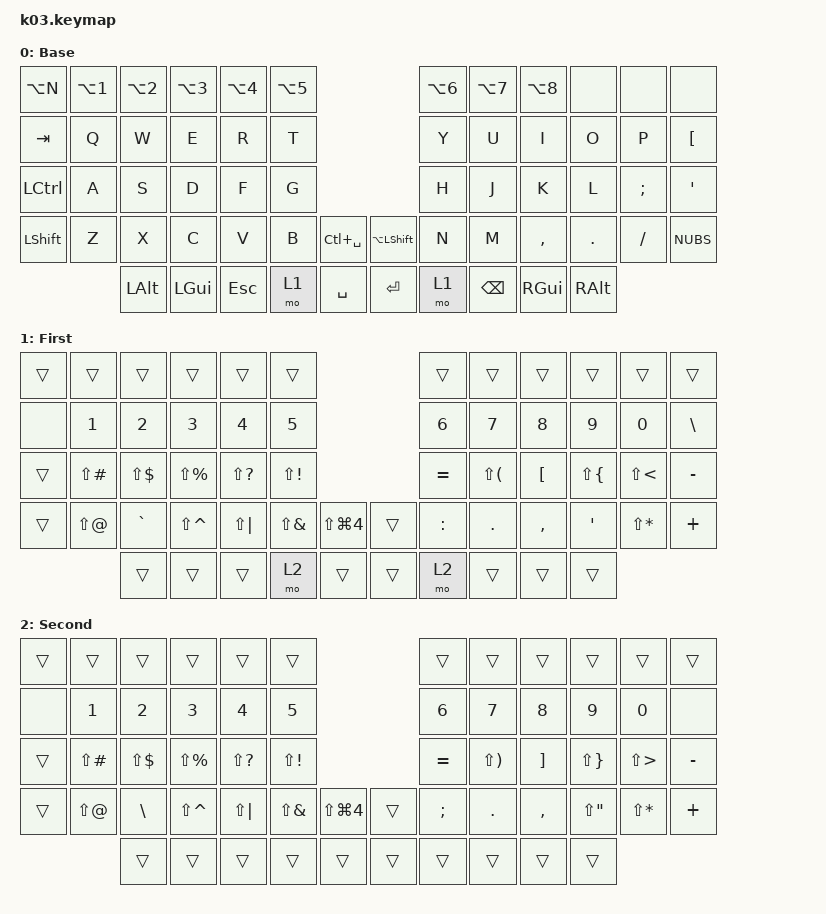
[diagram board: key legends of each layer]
#include "keys_ru.h"
#include <behaviors.dtsi>
#include <dt-bindings/zmk/keys.h>

/ {
    behaviors {
        enc_vol: enc_vol {
            compatible = "zmk,behavior-sensor-rotate";
            label = "ENC_VOL";
            #sensor-binding-cells = <0>;
            bindings = <&kp C_VOL_UP>, <&kp C_VOL_DN>;
        };
    };

    macros {
        switch_lang: switch_lang {
            compatible = "zmk,behavior-macro";
            #binding-cells = <0>;
            bindings = <&kt LC(SPACE)>;
            label = "SWITCH_LANG";
        };

        change_win: change_win {
            compatible = "zmk,behavior-macro";
            #binding-cells = <0>;
            bindings = <&kp LC(LG(LA(LS(C))))>;
            label = "CHANGE_WIN";
        };
    };

    keymap {
        compatible = "zmk,keymap";

        base {
            bindings = <
&kp LA(N)         &kp LA(N1)  &kp LA(NUMBER_2)  &kp LA(N3)    &kp LA(N4)  &kp LA(N5)                                       &kp LA(N6)  &kp LA(N7)     &kp LA(N8)     &none          &none     &none
&kp TAB           &kp Q       &kp W             &kp E         &kp R       &kp T                                            &kp Y       &kp U          &kp I          &kp O          &kp P     &kp LEFT_BRACKET
&kp LEFT_CONTROL  &kp A       &kp S             &kp D         &kp F       &kp G                                            &kp H       &kp J          &kp K          &kp L          &kp SEMI  &kp SQT
&kp LSHFT         &kp Z       &kp X             &kp C         &kp V       &kp B       &kp LC(SPACE)    &kp LA(LEFT_SHIFT)  &kp N       &kp M          &kp COMMA      &kp DOT        &kp FSLH  &kp NUBS
                              &kp LEFT_ALT      &kp LEFT_GUI  &kp ESC     &mo 1       &kp SPACE        &kp ENTER           &mo 1       &kp BACKSPACE  &kp RIGHT_GUI  &kp RIGHT_ALT
            >;

            display-name = "Base";
        };

        layer_1 {
            bindings = <
&trans  &trans         &trans        &trans         &trans         &trans                                        &trans     &trans        &trans     &trans            &trans        &trans
&none   &kp N1         &kp N2        &kp N3         &kp N4         &kp N5                                        &kp N6     &kp N7        &kp N8     &kp N9            &kp N0        &kp BACKSLASH
&trans  &kp LS(POUND)  &kp LS(DLLR)  &kp LS(PRCNT)  &kp LS(QMARK)  &kp LS(EXCL)                                  &kp EQUAL  &kp LS(LPAR)  &kp LBKT   &kp LS(LBRC)      &kp LS(LT)    &kp MINUS
&trans  &kp LS(AT)     &kp GRAVE     &kp LS(CARET)  &kp LS(PIPE)   &kp LS(AMPS)  &kp LS(LG(NUMBER_4))    &trans  &kp COLON  &kp DOT       &kp COMMA  &kp SINGLE_QUOTE  &kp LS(STAR)  &kp PLUS
                       &trans        &trans         &trans         &mo 2         &trans                  &trans  &mo 2      &trans        &trans     &trans
            >;

            label = "First";
        };

        layer_2 {
            bindings = <
&trans  &trans         &trans         &trans         &trans         &trans                                        &trans     &trans        &trans     &trans        &trans        &trans
&none   &kp N1         &kp N2         &kp N3         &kp N4         &kp N5                                        &kp N6     &kp N7        &kp N8     &kp N9        &kp N0        &none
&trans  &kp LS(POUND)  &kp LS(DLLR)   &kp LS(PRCNT)  &kp LS(QMARK)  &kp LS(EXCL)                                  &kp EQUAL  &kp LS(RPAR)  &kp RBKT   &kp LS(RBRC)  &kp LS(GT)    &kp MINUS
&trans  &kp LS(AT)     &kp BACKSLASH  &kp LS(CARET)  &kp LS(PIPE)   &kp LS(AMPS)  &kp LS(LG(NUMBER_4))    &trans  &kp SEMI   &kp DOT       &kp COMMA  &kp LS(DQT)   &kp LS(STAR)  &kp PLUS
                       &trans         &trans         &trans         &trans        &trans                  &trans  &trans     &trans        &trans     &trans
            >;

            label = "Second";
        };
    };
};
